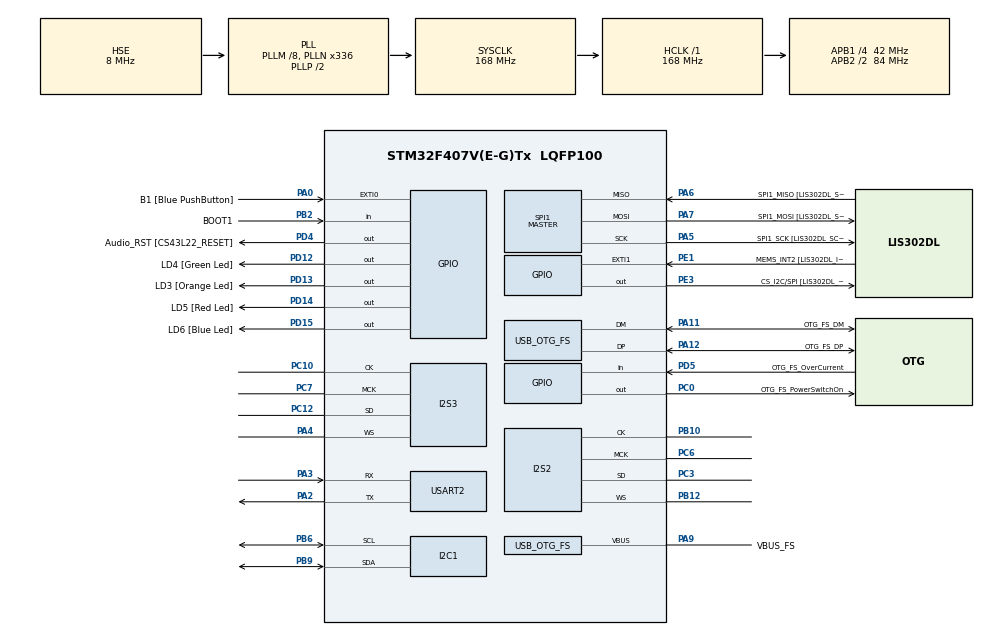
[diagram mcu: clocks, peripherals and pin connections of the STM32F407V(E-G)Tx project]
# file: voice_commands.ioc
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Dma.Request0=SPI2_RX
Dma.Request1=SPI3_TX
Dma.SPI2_RX.0.Direction=DMA_PERIPH_TO_MEMORY
Dma.SPI2_RX.0.FIFOMode=DMA_FIFOMODE_DISABLE
Dma.SPI2_RX.0.Instance=DMA1_Stream3
Dma.SPI2_RX.0.MemDataAlignment=DMA_MDATAALIGN_HALFWORD
Dma.SPI2_RX.0.MemInc=DMA_MINC_ENABLE
Dma.SPI2_RX.0.Mode=DMA_CIRCULAR
Dma.SPI2_RX.0.PeriphDataAlignment=DMA_PDATAALIGN_HALFWORD
Dma.SPI2_RX.0.PeriphInc=DMA_PINC_DISABLE
Dma.SPI2_RX.0.Priority=DMA_PRIORITY_LOW
Dma.SPI3_TX.1.Direction=DMA_MEMORY_TO_PERIPH
Dma.SPI3_TX.1.FIFOMode=DMA_FIFOMODE_DISABLE
Dma.SPI3_TX.1.Instance=DMA1_Stream5
Dma.SPI3_TX.1.MemDataAlignment=DMA_MDATAALIGN_HALFWORD
Dma.SPI3_TX.1.MemInc=DMA_MINC_ENABLE
Dma.SPI3_TX.1.Mode=DMA_CIRCULAR
Dma.SPI3_TX.1.PeriphDataAlignment=DMA_PDATAALIGN_HALFWORD
Dma.SPI3_TX.1.PeriphInc=DMA_PINC_DISABLE
Dma.SPI3_TX.1.Priority=DMA_PRIORITY_LOW
I2S2.AudioFreq=I2S_AUDIOFREQ_16K
I2S2.DataFormat=I2S_DATAFORMAT_24B
I2S2.ErrorAudioFreq=1.9 %
I2S2.FullDuplexMode=I2S_FULLDUPLEXMODE_DISABLE
I2S2.Instance=SPI$Index
I2S2.Mode=I2S_MODE_MASTER_RX
I2S2.RealAudioFreq=16.304 KHz
I2S2.Standard=I2S_STANDARD_LSB
I2S2.VirtualMode=I2S_MODE_MASTER
I2S3.AudioFreq=I2S_AUDIOFREQ_16K
I2S3.ErrorAudioFreq=1.9 %
I2S3.FullDuplexMode=I2S_FULLDUPLEXMODE_DISABLE
I2S3.Instance=SPI$Index
I2S3.RealAudioFreq=16.304 KHz
I2S3.Standard=I2S_STANDARD_LSB
I2S3.VirtualMode=I2S_MODE_MASTER
Mcu.Family=STM32F4
Mcu.Name=STM32F407V(E-G)Tx
Mcu.Package=LQFP100
NVIC.DMA1_Stream3_IRQn=true\:0\:0\:false\:false\:true\:false\:true\:true
NVIC.DMA1_Stream5_IRQn=true\:0\:0\:false\:false\:true\:false\:true\:true
NVIC.OTG_FS_IRQn=true\:0\:0\:false\:false\:true\:true\:true\:true
NVIC.PriorityGroup=NVIC_PRIORITYGROUP_0
NVIC.USART2_IRQn=true\:0\:0\:false\:false\:true\:true\:true\:true
PA0-WKUP.GPIO_Label=B1 [Blue PushButton]
PA0-WKUP.GPIO_ModeDefaultEXTI=GPIO_MODE_EVT_RISING
PA0-WKUP.GPIO_PuPd=GPIO_NOPULL
PA0-WKUP.Signal=GPXTI0
PA10.GPIO_Label=OTG_FS_ID
PA10.GPIO_Mode=GPIO_MODE_AF_PP
PA10.GPIO_PuPd=GPIO_NOPULL
PA10.GPIO_Speed=GPIO_SPEED_FREQ_LOW
PA10.Signal=USB_OTG_FS_ID
PA11.GPIO_Label=OTG_FS_DM
PA11.GPIO_Mode=GPIO_MODE_AF_PP
PA11.GPIO_PuPd=GPIO_NOPULL
PA11.GPIO_Speed=GPIO_SPEED_FREQ_LOW
PA11.Mode=Host_Only
PA11.Signal=USB_OTG_FS_DM
PA12.GPIO_Label=OTG_FS_DP
PA12.GPIO_Mode=GPIO_MODE_AF_PP
PA12.GPIO_PuPd=GPIO_NOPULL
PA12.GPIO_Speed=GPIO_SPEED_FREQ_LOW
PA12.Mode=Host_Only
PA12.Signal=USB_OTG_FS_DP
PA13.Signal=SYS_JTMS-SWDIO
PA14.Signal=SYS_JTCK-SWCLK
PA2.Mode=Asynchronous
PA2.Signal=USART2_TX
PA3.Mode=Asynchronous
PA3.Signal=USART2_RX
PA4.Mode=Half_Duplex_Master
PA4.Signal=I2S3_WS
PA5.GPIO_Label=SPI1_SCK [LIS302DL_SCL/SPC]
PA5.GPIO_Mode=GPIO_MODE_AF_PP
PA5.GPIO_PuPd=GPIO_NOPULL
PA5.GPIO_Speed=GPIO_SPEED_FREQ_LOW
PA5.Mode=Full_Duplex_Master
PA5.Signal=SPI1_SCK
PA6.GPIO_Label=SPI1_MISO [LIS302DL_SDO]
PA6.GPIO_Mode=GPIO_MODE_AF_PP
PA6.GPIO_PuPd=GPIO_NOPULL
PA6.GPIO_Speed=GPIO_SPEED_FREQ_LOW
PA6.Mode=Full_Duplex_Master
PA6.Signal=SPI1_MISO
PA7.GPIO_Label=SPI1_MOSI [LIS302DL_SDA/SDI/SDO]
PA7.GPIO_Mode=GPIO_MODE_AF_PP
PA7.GPIO_PuPd=GPIO_NOPULL
PA7.GPIO_Speed=GPIO_SPEED_FREQ_LOW
PA7.Mode=Full_Duplex_Master
PA7.Signal=SPI1_MOSI
PA9.GPIO_Label=VBUS_FS
PA9.GPIO_Mode=GPIO_MODE_INPUT
PA9.GPIO_PuPd=GPIO_NOPULL
PA9.Mode=Activate_VBUS
PA9.Signal=USB_OTG_FS_VBUS
PB10.Mode=Half_Duplex_Master
PB10.Signal=I2S2_CK
PB12.Mode=Half_Duplex_Master
PB12.Signal=I2S2_WS
PB2.GPIO_Label=BOOT1
PB2.GPIO_Mode=GPIO_MODE_INPUT
PB2.GPIO_PuPd=GPIO_NOPULL
PB2.Signal=GPIO_Input
PB3.GPIO_Label=SWO
PB3.Signal=SYS_JTDO-SWO
PB6.Mode=I2C
PB6.Signal=I2C1_SCL
PB9.Mode=I2C
PB9.Signal=I2C1_SDA
PC0.GPIO_Label=OTG_FS_PowerSwitchOn
PC0.GPIO_PuPd=GPIO_NOPULL
PC0.GPIO_Speed=GPIO_SPEED_FREQ_LOW
PC0.PinState=GPIO_PIN_SET
PC0.Signal=GPIO_Output
PC10.Mode=Half_Duplex_Master
PC10.Signal=I2S3_CK
PC12.Mode=Half_Duplex_Master
PC12.Signal=I2S3_SD
PC14-OSC32_IN.GPIO_Label=PC14-OSC32_IN
PC14-OSC32_IN.Mode=LSE-External-Oscillator
PC14-OSC32_IN.Signal=RCC_OSC32_IN
PC15-OSC32_OUT.GPIO_Label=PC15-OSC32_OUT
PC15-OSC32_OUT.Mode=LSE-External-Oscillator
PC15-OSC32_OUT.Signal=RCC_OSC32_OUT
PC3.Mode=Half_Duplex_Master
PC3.Signal=I2S2_SD
PC6.Mode=Master_Clock_Activated
PC6.Signal=I2S2_MCK
PC7.Mode=Master_Clock_Activated
PC7.Signal=I2S3_MCK
PD12.GPIO_Label=LD4 [Green Led]
PD12.GPIO_PuPd=GPIO_NOPULL
PD12.GPIO_Speed=GPIO_SPEED_FREQ_LOW
PD12.Signal=GPIO_Output
PD13.GPIO_Label=LD3 [Orange Led]
PD13.GPIO_PuPd=GPIO_NOPULL
PD13.GPIO_Speed=GPIO_SPEED_FREQ_LOW
PD13.Signal=GPIO_Output
PD14.GPIO_Label=LD5 [Red Led]
PD14.GPIO_PuPd=GPIO_NOPULL
PD14.GPIO_Speed=GPIO_SPEED_FREQ_LOW
PD14.Signal=GPIO_Output
PD15.GPIO_Label=LD6 [Blue Led]
PD15.GPIO_PuPd=GPIO_NOPULL
PD15.GPIO_Speed=GPIO_SPEED_FREQ_LOW
PD15.Signal=GPIO_Output
PD4.GPIO_Label=Audio_RST [CS43L22_RESET]
PD4.GPIO_PuPd=GPIO_NOPULL
PD4.GPIO_Speed=GPIO_SPEED_FREQ_LOW
PD4.Signal=GPIO_Output
PD5.GPIO_Label=OTG_FS_OverCurrent
PD5.GPIO_Mode=GPIO_MODE_INPUT
PD5.GPIO_PuPd=GPIO_NOPULL
PD5.Signal=GPIO_Input
PDM2PCM.CHANNEL1_in_ptr_channels=1
PDM2PCM.CHANNEL1_mic_gain=6
PDM2PCM.CHANNEL1_out_ptr_channels=1
PE1.GPIO_Label=MEMS_INT2 [LIS302DL_INT2]
PE1.GPIO_ModeDefaultEXTI=GPIO_MODE_EVT_RISING
PE1.GPIO_PuPd=GPIO_NOPULL
PE1.Signal=GPXTI1
PE3.GPIO_Label=CS_I2C/SPI [LIS302DL_CS_I2C/SPI]
PE3.GPIO_PuPd=GPIO_NOPULL
PE3.GPIO_Speed=GPIO_SPEED_FREQ_LOW
PE3.Signal=GPIO_Output
PH0-OSC_IN.GPIO_Label=PH0-OSC_IN
PH0-OSC_IN.Mode=HSE-External-Oscillator
PH0-OSC_IN.Signal=RCC_OSC_IN
PH1-OSC_OUT.GPIO_Label=PH1-OSC_OUT
PH1-OSC_OUT.Mode=HSE-External-Oscillator
PH1-OSC_OUT.Signal=RCC_OSC_OUT
ProjectManager.HeapSize=0x200
ProjectManager.StackSize=0x400
ProjectManager.TargetToolchain=STM32CubeIDE
RCC.48MHZClocksFreq_Value=48000000
RCC.AHBFreq_Value=168000000
RCC.APB1CLKDivider=RCC_HCLK_DIV4
RCC.APB1Freq_Value=42000000
RCC.APB1TimFreq_Value=84000000
RCC.APB2CLKDivider=RCC_HCLK_DIV2
RCC.APB2Freq_Value=84000000
RCC.APB2TimFreq_Value=168000000
RCC.CortexFreq_Value=168000000
RCC.HCLKFreq_Value=168000000
RCC.HSE_VALUE=8000000
RCC.HSI_VALUE=16000000
RCC.PLLM=8
RCC.PLLN=336
RCC.PLLQ=7
RCC.SYSCLKFreq_VALUE=168000000
RCC.SYSCLKSource=RCC_SYSCLKSOURCE_PLLCLK
RCC.VCOOutputFreq_Value=336000000
SPI1.BaudRatePrescaler-Full_Duplex_Master=SPI_BAUDRATEPRESCALER_2
SPI1.CalculateBaudRate-Full_Duplex_Master=42.0 MBits/s
SPI1.Direction=SPI_DIRECTION_2LINES
SPI1.Mode=SPI_MODE_MASTER
SPI1.Mode-Full_Duplex_Master=SPI_MODE_MASTER
SPI1.VirtualType=VM_MASTER
USART2.VirtualMode=VM_ASYNC
USB_HOST.SW_VBUS_DRIVE_MSC_FS=true
USB_HOST.USBH_HandleTypeDef-MSC_FS=hUsbHostFS
USB_HOST.VirtualModeFS=Msc
USB_OTG_FS.VirtualMode=Host_Only
USB_OTG_FS.phy_itface=HCD_PHY_EMBEDDED
VP_CRC_VS_CRC.Mode=CRC_Activate
VP_FATFS_VS_USB.Mode=USB
VP_PDM2PCM_VS_PDM2PCM.Mode=PDM2PCM_Channel
VP_USB_HOST_VS_USB_HOST_MSC_FS.Mode=MSC_FS
board=STM32F407G-DISC1

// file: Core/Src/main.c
/* USER CODE BEGIN Header */
/**
  ******************************************************************************
  * @file           : main.c
  * @brief          : Main program body
  ******************************************************************************
  * @attention
  *
  * Copyright (c) 2025 STMicroelectronics.
  * All rights reserved.
  *
  * This software is licensed under terms that can be found in the LICENSE file
  * in the root directory of this software component.
  * If no LICENSE file comes with this software, it is provided AS-IS.
  *
  ******************************************************************************
  */
/* USER CODE END Header */
#include "main.h"
#include "fatfs.h"
#include "pdm2pcm.h"
#include "usb_host.h"

/* USER CODE BEGIN Includes */
#include "MY_CS43L22.h"
#include "voicecmd/vc_encoders.h"
#include "voicecmd/vc_decoders.h"

// TODO: AGC
//#include "voicecmd/vc_agc.h"
//#include "voicecmd/vc_filters.h"
/* USER CODE END Includes */

CRC_HandleTypeDef hcrc;

I2C_HandleTypeDef hi2c1;

I2S_HandleTypeDef hi2s2;
I2S_HandleTypeDef hi2s3;
DMA_HandleTypeDef hdma_spi2_rx;
DMA_HandleTypeDef hdma_spi3_tx;

SPI_HandleTypeDef hspi1;

UART_HandleTypeDef huart2;

void SystemClock_Config(void);
void PeriphCommonClock_Config(void);
static void MX_GPIO_Init(void);
static void MX_DMA_Init(void);
static void MX_I2S3_Init(void);
static void MX_SPI1_Init(void);
static void MX_USART2_UART_Init(void);
static void MX_I2S2_Init(void);
static void MX_CRC_Init(void);
static void MX_I2C1_Init(void);
void MX_USB_HOST_Process(void);

/* USER CODE BEGIN 0 */
int16_t pdmRxBuf[128];

// TODO: Wersja Szczepana na 16 probek
// int16_t MidBuffer1[16];
// int16_t MidBuffer2[16];
int16_t MidBuffer1[160];
int16_t MidBuffer2[160];
uint8_t volatile rxstate = 0;
int16_t OutputBuffer[32];

// TODO: AGC
// float32_t agc_buffer[320];  // Bufor dla przetwarzania AGC
//agc_f32_t agc;              // Struktura AGC

typedef enum {PCM16_LE}PDM_types;
struct PCM_FRAME_IN{
	uint16_t sample_rate;
	uint8_t channels;
	PDM_types format;
	uint16_t len_samples;
	int16_t payload[320];
	uint32_t frame_idx;
};

// TODO: Wersja Szczepana na 32 probki
// int16_t output_data[32];
int16_t output_data[320];

//float mySinVal;
//float sample_dt;
//uint16_t sample_N;
//uint16_t i_t;
//int16_t dataI2S[100];

/* USER CODE END 0 */

int main(void)
{

  /* MCU Configuration--------------------------------------------------------*/

  /* Reset of all peripherals, Initializes the Flash interface and the Systick. */
  HAL_Init();

  /* Configure the system clock */
  SystemClock_Config();

  /* Configure the peripherals common clocks */
  PeriphCommonClock_Config();

  /* Initialize all configured peripherals */
  MX_GPIO_Init();
  MX_DMA_Init();
  MX_I2S3_Init();
  MX_SPI1_Init();
  MX_USART2_UART_Init();
  MX_FATFS_Init();
  MX_USB_HOST_Init();
  MX_I2S2_Init();
  MX_CRC_Init();
  MX_PDM2PCM_Init();
  MX_I2C1_Init();
  /* USER CODE BEGIN 2 */

  uint16_t current_payload1 = 0;
  uint16_t current_payload2 = 0;
  struct PCM_FRAME_IN frame;
  frame.channels = 1;
  frame.format = PCM16_LE;
  frame.frame_idx = 0;
  frame.len_samples = 320;
  frame.sample_rate = 16000;
  uint32_t frame_idx = 0;

  // TODO: AGC
  // Inicjalizacja AGC
  //  agc_f32_init(&agc, 16000.0f, 20.0f);  // 16kHz, 20ms ramki

  // TODO: WEBRTC G722 odkomentowac ponizej
  // g722_webrtc_init_64k();

  // TODO: Pierwszy G722
  g722_init_64k_dec();
  g722_init_64k_enc();

  //  #define F_SAMPLE 50000.0f
  //  #define F_OUT 1500.0f
  //  sample_dt = F_OUT/F_SAMPLE;
  //  sample_N = F_SAMPLE/F_OUT;

  CS43_Init(hi2c1, MODE_I2S);
  CS43_SetVolume(1);
  CS43_Enable_RightLeft(CS43_RIGHT_LEFT);
  CS43_Start();

//  Build sine wave
//	for(uint16_t i=0; i<sample_N; i++)
//	{
//		mySinVal = sinf(i*2*3.1415*sample_dt);
//		dataI2S[i*2] = (mySinVal )*8000;    //Right data (0 2 4 6 8 10 12)
//		dataI2S[i*2 + 1] =(mySinVal )*8000; //Left data  (1 3 5 7 9 11 13)
//	}
//
//	HAL_I2S_Transmit_DMA(&hi2s3, (uint16_t *)dataI2S, sample_N*2);
  HAL_I2S_Receive_DMA(&hi2s2, &pdmRxBuf[0],64);

  //TODO: wersja Szczepana
  // HAL_I2S_Transmit_DMA(&hi2s3,output_data, 32);

  // TODO: Dla odpalenia czystego dzwieku z we na wy ponizsze zakomentowac i zastapic: HAL_I2S_Transmit_DMA(&hi2s3, &frame.payload, 320);
  HAL_I2S_Transmit_DMA(&hi2s3, output_data, 320);
  /* USER CODE END 2 */

  /* Infinite loop */
  /* USER CODE BEGIN WHILE */
  while (1)
  {
	    if (rxstate==1) {
	    	PDM_Filter(&pdmRxBuf[0],&MidBuffer1[current_payload1], &PDM1_filter_handler);
	    	current_payload1 += 16;
	    	rxstate = 0;
	    }

	    if (rxstate==2) {
	    	PDM_Filter(&pdmRxBuf[64],&MidBuffer2[current_payload2], &PDM1_filter_handler);
	    	current_payload2 += 16;
	    	rxstate = 0;
	    }

	    if (current_payload2 >= 160){
	    	frame.frame_idx = frame_idx;
	    	current_payload1 = 0;
	    	current_payload2 = 0;
	    	frame_idx += 1;
	    	for (int i = 0; i < 160; i += 16)
	    	{
	    	    memcpy(&frame.payload[i * 2], &MidBuffer1[i], 16 * sizeof(int16_t));
	    	}

	    	for (int i = 0; i < 160; i += 16)
	    	{
	    	    memcpy(&frame.payload[16 + i * 2], &MidBuffer2[i], 16 * sizeof(int16_t));
	    	}
        // TODO: AGC
        // Metadane dla AGC
        //	    	vc_pcm_meta_t pcm_meta = {
        //	    	    .frame_idx = frame_idx,
        //	    	    .sample_rate_hz = 16000,
        //	    	    .channels = 1,
        //	    	    .len_samples = 320
        //	    	};
        // Konwersja int16 -> float32
        //	    	vc_convert_int16_to_float32(frame.payload, agc_buffer, 320);
        //
        //	    	// Przetwarzanie AGC
        //	    	 agc_f32_process(&pcm_meta, &agc, agc_buffer);
        //
        //	    	// Konwersja float32 -> int16 do output_data
        //	    	vc_convert_float32_to_int16(agc_buffer, output_data, 320);

        // TODO: Pierwszy G722
        // TEST G722
        uint8_t payload[160];
        int wrote_g722;
        wrote_g722 = g722_encode_20ms_64k(frame.payload, payload);
        int wrote_g722_dec;
        wrote_g722_dec = g722_decode_20ms_64k(payload, output_data);

        // TODO: WEBRTC G722
        // TEST WEBRTC G722
		    // g722_webrtc_encode_20ms(&frame.payload, payload);
		    // g722_webrtc_decode_20ms(payload, output_data);

        // TODO: ADPCM
        // TEST ADPCM
        // vc_ima_state_t  ima_state = {0};
        // uint8_t  adpcm[VC_IMA_MONO_BYTES_PER_FRAME];
        // vc_ima_encode_block_mono(frame.payload, 320, adpcm, &ima_state);
        // vc_ima_decode_block_mono(adpcm, 320, output_data);
	    }

    /* USER CODE END WHILE */
    MX_USB_HOST_Process();

    /* USER CODE BEGIN 3 */
  }
  // TODO: WEBRTC G722
  // g722_webrtc_free();

  // TODO: Pierwszy G722
  g722_deinit_dec();
  g722_deinit_enc();
  /* USER CODE END 3 */
}

void SystemClock_Config(void)
{
  RCC_OscInitTypeDef RCC_OscInitStruct = {0};
  RCC_ClkInitTypeDef RCC_ClkInitStruct = {0};

  /** Configure the main internal regulator output voltage
  */
  __HAL_RCC_PWR_CLK_ENABLE();
  __HAL_PWR_VOLTAGESCALING_CONFIG(PWR_REGULATOR_VOLTAGE_SCALE1);

  /** Initializes the RCC Oscillators according to the specified parameters
  * in the RCC_OscInitTypeDef structure.
  */
  RCC_OscInitStruct.OscillatorType = RCC_OSCILLATORTYPE_HSE;
  RCC_OscInitStruct.HSEState = RCC_HSE_ON;
  RCC_OscInitStruct.PLL.PLLState = RCC_PLL_ON;
  RCC_OscInitStruct.PLL.PLLSource = RCC_PLLSOURCE_HSE;
  RCC_OscInitStruct.PLL.PLLM = 8;
  RCC_OscInitStruct.PLL.PLLN = 336;
  RCC_OscInitStruct.PLL.PLLP = RCC_PLLP_DIV2;
  RCC_OscInitStruct.PLL.PLLQ = 7;
  if (HAL_RCC_OscConfig(&RCC_OscInitStruct) != HAL_OK)
  {
    Error_Handler();
  }

  /** Initializes the CPU, AHB and APB buses clocks
  */
  RCC_ClkInitStruct.ClockType = RCC_CLOCKTYPE_HCLK|RCC_CLOCKTYPE_SYSCLK
                              |RCC_CLOCKTYPE_PCLK1|RCC_CLOCKTYPE_PCLK2;
  RCC_ClkInitStruct.SYSCLKSource = RCC_SYSCLKSOURCE_PLLCLK;
  RCC_ClkInitStruct.AHBCLKDivider = RCC_SYSCLK_DIV1;
  RCC_ClkInitStruct.APB1CLKDivider = RCC_HCLK_DIV4;
  RCC_ClkInitStruct.APB2CLKDivider = RCC_HCLK_DIV2;

  if (HAL_RCC_ClockConfig(&RCC_ClkInitStruct, FLASH_LATENCY_5) != HAL_OK)
  {
    Error_Handler();
  }
}

void PeriphCommonClock_Config(void)
{
  RCC_PeriphCLKInitTypeDef PeriphClkInitStruct = {0};

  /** Initializes the peripherals clock
  */
  PeriphClkInitStruct.PeriphClockSelection = RCC_PERIPHCLK_I2S;
  PeriphClkInitStruct.PLLI2S.PLLI2SN = 192;
  PeriphClkInitStruct.PLLI2S.PLLI2SR = 2;
  if (HAL_RCCEx_PeriphCLKConfig(&PeriphClkInitStruct) != HAL_OK)
  {
    Error_Handler();
  }
}

static void MX_CRC_Init(void)
{

  hcrc.Instance = CRC;
  if (HAL_CRC_Init(&hcrc) != HAL_OK)
  {
    Error_Handler();
  }
  __HAL_CRC_DR_RESET(&hcrc);

}

static void MX_I2C1_Init(void)
{

  hi2c1.Instance = I2C1;
  hi2c1.Init.ClockSpeed = 100000;
  hi2c1.Init.DutyCycle = I2C_DUTYCYCLE_2;
  hi2c1.Init.OwnAddress1 = 0;
  hi2c1.Init.AddressingMode = I2C_ADDRESSINGMODE_7BIT;
  hi2c1.Init.DualAddressMode = I2C_DUALADDRESS_DISABLE;
  hi2c1.Init.OwnAddress2 = 0;
  hi2c1.Init.GeneralCallMode = I2C_GENERALCALL_DISABLE;
  hi2c1.Init.NoStretchMode = I2C_NOSTRETCH_DISABLE;
  if (HAL_I2C_Init(&hi2c1) != HAL_OK)
  {
    Error_Handler();
  }

}

static void MX_I2S2_Init(void)
{

  hi2s2.Instance = SPI2;
  hi2s2.Init.Mode = I2S_MODE_MASTER_RX;
  hi2s2.Init.Standard = I2S_STANDARD_LSB;
  hi2s2.Init.DataFormat = I2S_DATAFORMAT_24B;
  hi2s2.Init.MCLKOutput = I2S_MCLKOUTPUT_ENABLE;
  hi2s2.Init.AudioFreq = I2S_AUDIOFREQ_16K;
  hi2s2.Init.CPOL = I2S_CPOL_LOW;
  hi2s2.Init.ClockSource = I2S_CLOCK_PLL;
  hi2s2.Init.FullDuplexMode = I2S_FULLDUPLEXMODE_DISABLE;
  if (HAL_I2S_Init(&hi2s2) != HAL_OK)
  {
    Error_Handler();
  }

}

static void MX_I2S3_Init(void)
{

  hi2s3.Instance = SPI3;
  hi2s3.Init.Mode = I2S_MODE_MASTER_TX;
  hi2s3.Init.Standard = I2S_STANDARD_LSB;
  hi2s3.Init.DataFormat = I2S_DATAFORMAT_16B;
  hi2s3.Init.MCLKOutput = I2S_MCLKOUTPUT_ENABLE;
  hi2s3.Init.AudioFreq = I2S_AUDIOFREQ_16K;
  hi2s3.Init.CPOL = I2S_CPOL_LOW;
  hi2s3.Init.ClockSource = I2S_CLOCK_PLL;
  hi2s3.Init.FullDuplexMode = I2S_FULLDUPLEXMODE_DISABLE;
  if (HAL_I2S_Init(&hi2s3) != HAL_OK)
  {
    Error_Handler();
  }

}

static void MX_SPI1_Init(void)
{

  /* SPI1 parameter configuration*/
  hspi1.Instance = SPI1;
  hspi1.Init.Mode = SPI_MODE_MASTER;
  hspi1.Init.Direction = SPI_DIRECTION_2LINES;
  hspi1.Init.DataSize = SPI_DATASIZE_8BIT;
  hspi1.Init.CLKPolarity = SPI_POLARITY_LOW;
  hspi1.Init.CLKPhase = SPI_PHASE_1EDGE;
  hspi1.Init.NSS = SPI_NSS_SOFT;
  hspi1.Init.BaudRatePrescaler = SPI_BAUDRATEPRESCALER_2;
  hspi1.Init.FirstBit = SPI_FIRSTBIT_MSB;
  hspi1.Init.TIMode = SPI_TIMODE_DISABLE;
  hspi1.Init.CRCCalculation = SPI_CRCCALCULATION_DISABLE;
  hspi1.Init.CRCPolynomial = 10;
  if (HAL_SPI_Init(&hspi1) != HAL_OK)
  {
    Error_Handler();
  }

}

static void MX_USART2_UART_Init(void)
{

  huart2.Instance = USART2;
  huart2.Init.BaudRate = 115200;
  huart2.Init.WordLength = UART_WORDLENGTH_8B;
  huart2.Init.StopBits = UART_STOPBITS_1;
  huart2.Init.Parity = UART_PARITY_NONE;
  huart2.Init.Mode = UART_MODE_TX_RX;
  huart2.Init.HwFlowCtl = UART_HWCONTROL_NONE;
  huart2.Init.OverSampling = UART_OVERSAMPLING_16;
  if (HAL_UART_Init(&huart2) != HAL_OK)
  {
    Error_Handler();
  }

}

static void MX_DMA_Init(void)
{

  /* DMA controller clock enable */
  __HAL_RCC_DMA1_CLK_ENABLE();

  /* DMA interrupt init */
  /* DMA1_Stream3_IRQn interrupt configuration */
  HAL_NVIC_SetPriority(DMA1_Stream3_IRQn, 0, 0);
  HAL_NVIC_EnableIRQ(DMA1_Stream3_IRQn);
  /* DMA1_Stream5_IRQn interrupt configuration */
  HAL_NVIC_SetPriority(DMA1_Stream5_IRQn, 0, 0);
  HAL_NVIC_EnableIRQ(DMA1_Stream5_IRQn);

}

static void MX_GPIO_Init(void)
{
  GPIO_InitTypeDef GPIO_InitStruct = {0};

  /* GPIO Ports Clock Enable */
  __HAL_RCC_GPIOE_CLK_ENABLE();
  __HAL_RCC_GPIOC_CLK_ENABLE();
  __HAL_RCC_GPIOH_CLK_ENABLE();
  __HAL_RCC_GPIOA_CLK_ENABLE();
  __HAL_RCC_GPIOB_CLK_ENABLE();
  __HAL_RCC_GPIOD_CLK_ENABLE();

  /*Configure GPIO pin Output Level */
  HAL_GPIO_WritePin(CS_I2C_SPI_GPIO_Port, CS_I2C_SPI_Pin, GPIO_PIN_RESET);

  /*Configure GPIO pin Output Level */
  HAL_GPIO_WritePin(OTG_FS_PowerSwitchOn_GPIO_Port, OTG_FS_PowerSwitchOn_Pin, GPIO_PIN_SET);

  /*Configure GPIO pin Output Level */
  HAL_GPIO_WritePin(GPIOD, LD4_Pin|LD3_Pin|LD5_Pin|LD6_Pin
                          |Audio_RST_Pin, GPIO_PIN_RESET);

  /*Configure GPIO pin : CS_I2C_SPI_Pin */
  GPIO_InitStruct.Pin = CS_I2C_SPI_Pin;
  GPIO_InitStruct.Mode = GPIO_MODE_OUTPUT_PP;
  GPIO_InitStruct.Pull = GPIO_NOPULL;
  GPIO_InitStruct.Speed = GPIO_SPEED_FREQ_LOW;
  HAL_GPIO_Init(CS_I2C_SPI_GPIO_Port, &GPIO_InitStruct);

  /*Configure GPIO pin : OTG_FS_PowerSwitchOn_Pin */
  GPIO_InitStruct.Pin = OTG_FS_PowerSwitchOn_Pin;
  GPIO_InitStruct.Mode = GPIO_MODE_OUTPUT_PP;
  GPIO_InitStruct.Pull = GPIO_NOPULL;
  GPIO_InitStruct.Speed = GPIO_SPEED_FREQ_LOW;
  HAL_GPIO_Init(OTG_FS_PowerSwitchOn_GPIO_Port, &GPIO_InitStruct);

  /*Configure GPIO pin : B1_Pin */
  GPIO_InitStruct.Pin = B1_Pin;
  GPIO_InitStruct.Mode = GPIO_MODE_EVT_RISING;
  GPIO_InitStruct.Pull = GPIO_NOPULL;
  HAL_GPIO_Init(B1_GPIO_Port, &GPIO_InitStruct);

  /*Configure GPIO pin : BOOT1_Pin */
  GPIO_InitStruct.Pin = BOOT1_Pin;
  GPIO_InitStruct.Mode = GPIO_MODE_INPUT;
  GPIO_InitStruct.Pull = GPIO_NOPULL;
  HAL_GPIO_Init(BOOT1_GPIO_Port, &GPIO_InitStruct);

  /*Configure GPIO pins : LD4_Pin LD3_Pin LD5_Pin LD6_Pin
                           Audio_RST_Pin */
  GPIO_InitStruct.Pin = LD4_Pin|LD3_Pin|LD5_Pin|LD6_Pin
                          |Audio_RST_Pin;
  GPIO_InitStruct.Mode = GPIO_MODE_OUTPUT_PP;
  GPIO_InitStruct.Pull = GPIO_NOPULL;
  GPIO_InitStruct.Speed = GPIO_SPEED_FREQ_LOW;
  HAL_GPIO_Init(GPIOD, &GPIO_InitStruct);

  /*Configure GPIO pin : OTG_FS_OverCurrent_Pin */
  GPIO_InitStruct.Pin = OTG_FS_OverCurrent_Pin;
  GPIO_InitStruct.Mode = GPIO_MODE_INPUT;
  GPIO_InitStruct.Pull = GPIO_NOPULL;
  HAL_GPIO_Init(OTG_FS_OverCurrent_GPIO_Port, &GPIO_InitStruct);

  /*Configure GPIO pin : MEMS_INT2_Pin */
  GPIO_InitStruct.Pin = MEMS_INT2_Pin;
  GPIO_InitStruct.Mode = GPIO_MODE_EVT_RISING;
  GPIO_InitStruct.Pull = GPIO_NOPULL;
  HAL_GPIO_Init(MEMS_INT2_GPIO_Port, &GPIO_InitStruct);

}

/* USER CODE BEGIN 4 */
void HAL_I2S_RxHalfCpltCallback (I2S_HandleTypeDef *hi2s) {
	rxstate = 1;
//	HAL_GPIO_TogglePin(GPIOD, GPIO_PIN_13);
}

void HAL_I2S_RxCpltCallback (I2S_HandleTypeDef *hi2s) {
	rxstate = 2;
//	HAL_GPIO_TogglePin(GPIOD, GPIO_PIN_12);
}
/* USER CODE END 4 */

void Error_Handler(void)
{
  __disable_irq();
  while (1)
  {
  }
}
